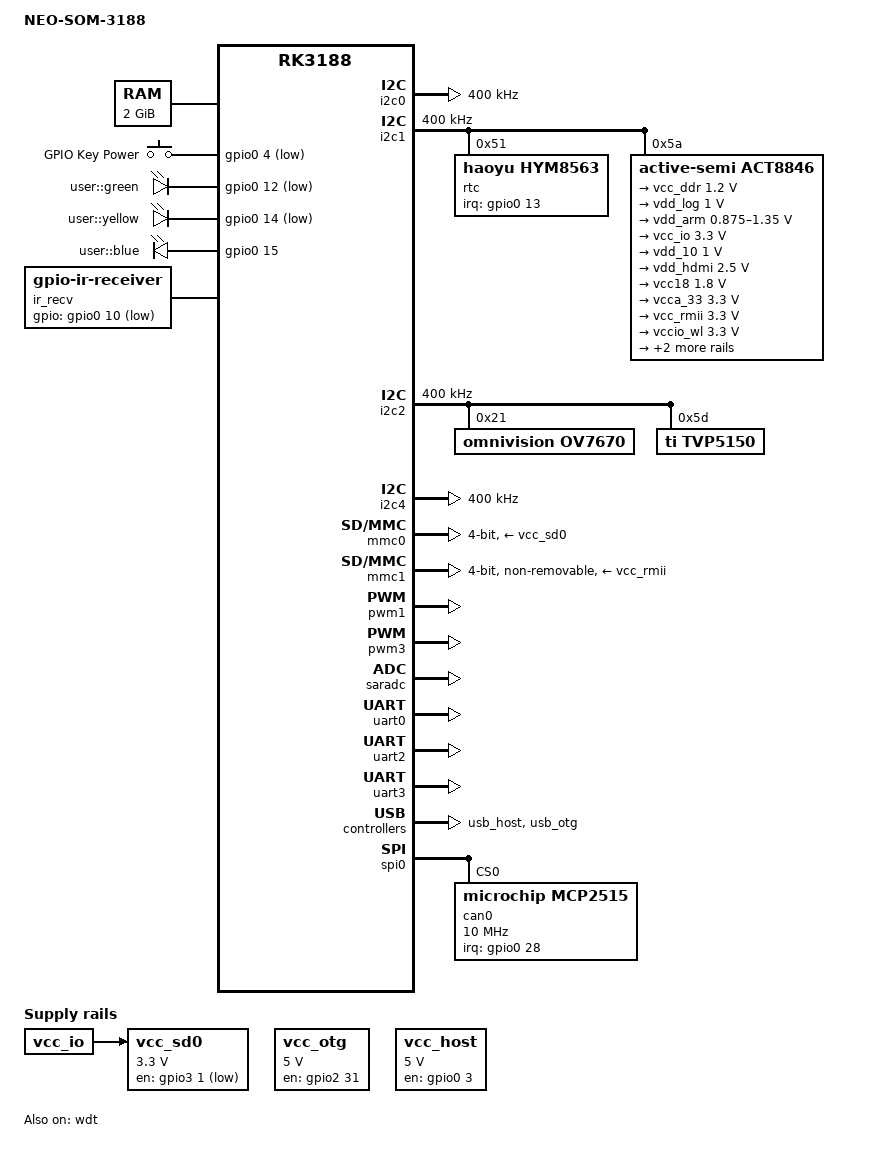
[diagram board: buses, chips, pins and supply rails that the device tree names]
/*
 * Copyright (c) 2014 NEO-Technologies <julien.chauveau@neo-technologies.fr>
 *
 * This program is free software; you can redistribute it and/or modify
 * it under the terms of the GNU General Public License as published by
 * the Free Software Foundation; either version 2 of the License, or
 * (at your option) any later version.
 *
 * This program is distributed in the hope that it will be useful,
 * but WITHOUT ANY WARRANTY; without even the implied warranty of
 * MERCHANTABILITY or FITNESS FOR A PARTICULAR PURPOSE.  See the
 * GNU General Public License for more details.
 */

/dts-v1/;
#include "rk3188.dtsi"

/ {
	model = "NEO-SOM-3188";
	compatible = "neo-technologies,neo-som-3188", "rockchip,rk3188";

	memory {
		reg = <0x60000000 0x80000000>;
	};

	gpio-keys {
		compatible = "gpio-keys";
		#address-cells = <1>;
		#size-cells = <0>;
		autorepeat;

		button@0 {
			gpios = <&gpio0 4 GPIO_ACTIVE_LOW>;
			linux,code = <116>;
			label = "GPIO Key Power";
			linux,input-type = <1>;
			gpio-key,wakeup = <1>;
			debounce-interval = <100>;
		};
	};

	gpio-leds {
		compatible = "gpio-leds";

		green {
			label = "user::green";
			gpios = <&gpio0 12 GPIO_ACTIVE_LOW>;
			linux,default-trigger = "heartbeat";
		};

		yellow {
			label = "user::yellow";
			gpios = <&gpio0 14 GPIO_ACTIVE_LOW>;
			linux,default-trigger = "mmc1";
		};

		blue {
			label = "user::blue";
			gpios = <&gpio0 15 GPIO_ACTIVE_HIGH>;
			default-state = "on";
		};
	};

	ir_recv: gpio-ir-receiver {
		compatible = "gpio-ir-receiver";
		gpios = <&gpio0 10 1>;
		pinctrl-names = "default";
		pinctrl-0 = <&ir_recv_pin>;
	};

	vcc_otg: usb-otg-regulator {
		compatible = "regulator-fixed";
		enable-active-high;
		gpio = <&gpio2 31 GPIO_ACTIVE_HIGH>;
		pinctrl-names = "default";
		pinctrl-0 = <&otg_vbus_drv>;
		regulator-name = "otg-vbus";
		regulator-min-microvolt = <5000000>;
		regulator-max-microvolt = <5000000>;
		regulator-always-on;
		regulator-boot-on;
	};

	vcc_sd0: sdmmc-regulator {
		compatible = "regulator-fixed";
		regulator-name = "sdmmc-supply";
		regulator-min-microvolt = <3300000>;
		regulator-max-microvolt = <3300000>;
		gpio = <&gpio3 1 GPIO_ACTIVE_LOW>;
		startup-delay-us = <100000>;
		vin-supply = <&vcc_io>;
	};

	vcc_host: usb-host-regulator {
		compatible = "regulator-fixed";
		enable-active-high;
		gpio = <&gpio0 3 GPIO_ACTIVE_HIGH>;
		pinctrl-names = "default";
		pinctrl-0 = <&host_vbus_drv>;
		regulator-name = "host-pwr";
		regulator-min-microvolt = <5000000>;
		regulator-max-microvolt = <5000000>;
		regulator-always-on;
		regulator-boot-on;
	};
};

&cpu0 {
	cpu0-supply = <&vdd_arm>;
};

&i2c0 {
	status = "okay";
	clock-frequency = <400000>;
};

&i2c1 {
	status = "okay";
	clock-frequency = <400000>;

	rtc@51 {
		compatible = "haoyu,hym8563";
		reg = <0x51>;
		interrupt-parent = <&gpio0>;
		interrupts = <13 IRQ_TYPE_EDGE_FALLING>;
		pinctrl-names = "default";
		pinctrl-0 = <&rtc_int>;
		#clock-cells = <0>;
		clock-output-names = "xin32k";
	};

	act8846@5a {
		compatible = "active-semi,act8846";
		reg = <0x5a>;
		status = "okay";

		pinctrl-names = "default";
		pinctrl-0 = <&act8846_dvs0_ctl>;

		regulators {
			vcc_ddr: REG1 {
				regulator-name = "VCC_DDR";
				regulator-min-microvolt = <1200000>;
				regulator-max-microvolt = <1200000>;
				regulator-always-on;
			};

			vdd_log: REG2 {
				regulator-name = "VDD_LOG";
				regulator-min-microvolt = <1000000>;
				regulator-max-microvolt = <1000000>;
				regulator-always-on;
			};

			vdd_arm: REG3 {
				regulator-name = "VDD_ARM";
				regulator-min-microvolt = <875000>;
				regulator-max-microvolt = <1350000>;
				regulator-always-on;
			};

			vcc_io: REG4 {
				regulator-name = "VCC_IO";
				regulator-min-microvolt = <3300000>;
				regulator-max-microvolt = <3300000>;
				regulator-always-on;
			};

			vdd_10: REG5 {
				regulator-name = "VDD_10";
				regulator-min-microvolt = <1000000>;
				regulator-max-microvolt = <1000000>;
				regulator-always-on;
			};

			vdd_hdmi: REG6 {
				regulator-name = "VDD_HDMI";
				regulator-min-microvolt = <2500000>;
				regulator-max-microvolt = <2500000>;
				regulator-always-on;
			};

			vcc18: REG7 {
				regulator-name = "VCC_18";
				regulator-min-microvolt = <1800000>;
				regulator-max-microvolt = <1800000>;
				regulator-always-on;
			};

			vcca_33: REG8 {
				regulator-name = "VCCA_33";
				regulator-min-microvolt = <3300000>;
				regulator-max-microvolt = <3300000>;
				regulator-always-on;
			};

			vcc_rmii: REG9 {
				regulator-name = "VCC_RMII";
				regulator-min-microvolt = <3300000>;
				regulator-max-microvolt = <3300000>;
			};

			vccio_wl: REG10 {
				regulator-name = "VCCIO_WL";
				regulator-min-microvolt = <3300000>;
				regulator-max-microvolt = <3300000>;
				regulator-always-on;
			};

			vcc_18: REG11 {
				regulator-name = "VCC18_IO";
				regulator-min-microvolt = <1800000>;
				regulator-max-microvolt = <1800000>;
				regulator-always-on;
			};

			vcc28: REG12 {
				regulator-name = "VCC_28";
				regulator-min-microvolt = <2800000>;
				regulator-max-microvolt = <2800000>;
				regulator-always-on;
			};
		};
	};
};

&i2c2 {
	status = "okay";
	clock-frequency = <400000>;

	ov7670@21 {
		compatible = "omnivision,ov7670";
		reg = <0x21>;
	};

	tvp5150@5d {
		compatible = "ti,tvp5150";
		reg = <0x5d>;
	};
};

&i2c4 {
	status = "okay";
	clock-frequency = <400000>;
};

&mmc0 {
	num-slots = <1>;
	status = "okay";
	pinctrl-names = "default";
	pinctrl-0 = <&sd0_clk>, <&sd0_cmd>, <&sd0_cd>, <&sd0_bus4>;
	vmmc-supply = <&vcc_sd0>;
	bus-width = <4>;
	disable-wp;
	cap-sd-highspeed;
};

&mmc1 {
	num-slots = <1>;
	status = "okay";
	pinctrl-names = "default";
	pinctrl-0 = <&sd1_clk>, <&sd1_cmd>, <&sd1_bus4>, <&ap6210_wl_reg_on>;
	vmmc-supply = <&vcc_rmii>;
	vqmmc-supply = <&vccio_wl>;
	bus-width = <4>;
	broken-cd;
	non-removable;
	cap-sd-highspeed;
};

&pwm1 {
	status = "okay";
};

&pwm3 {
	status = "okay";
};

&pinctrl {
	pcfg_output_low: pcfg-output-low {
		output-low;
	};

	pcfg_output_high: pcfg-output-high {
		output-high;
	};

	act8846 {
		act8846_dvs0_ctl: act8846-dvs0-ctl {
			rockchip,pins = <RK_GPIO3 27 RK_FUNC_GPIO &pcfg_output_low>;
		};
	};

	ap6210 {
		ap6210_wl_reg_on: ap6210-wl-reg-on {
			rockchip,pins = <RK_GPIO3 24 RK_FUNC_GPIO &pcfg_output_high>;
		};
	};

	hym8563 {
		rtc_int: rtc-int {
			rockchip,pins = <RK_GPIO0 0 RK_FUNC_GPIO &pcfg_pull_up>;
		};
	};

	ir-receiver {
		ir_recv_pin: ir-recv-pin {
			rockchip,pins = <RK_GPIO0 10 RK_FUNC_GPIO &pcfg_pull_none>;
		};
	};

	usb {
		host_vbus_drv: host-vbus-drv {
			rockchip,pins = <0 3 RK_FUNC_GPIO &pcfg_pull_none>;
		};
		otg_vbus_drv: otg-vbus-drv {
			rockchip,pins = <2 31 RK_FUNC_GPIO &pcfg_pull_none>;
		};
	};
};

&saradc {
	status = "okay";
};

&uart0 {
	status = "okay";
};

&uart2 {
	status = "okay";
};

&uart3 {
	status = "okay";
};

&usb_host {
	status = "okay";
};

&usb_otg {
	status = "okay";
};

&wdt {
	status = "okay";
};

/ {
	clocks {
		mcp2515_clk: mcp2515-clk {
			compatible = "fixed-clock";
			#clock-cells = <0>;
			clock-frequency = <20000000>;
		};
	};
};

&spi0 {
	status = "okay";

	can0: mcp2515@0 {
		compatible = "microchip,mcp2515";
		reg = <0>;
		spi-max-frequency = <10000000>;
		clocks = <&mcp2515_clk>;
		interrupt-parent = <&gpio0>;
		interrupts = <28 IRQ_TYPE_EDGE_FALLING>;
	};
};
